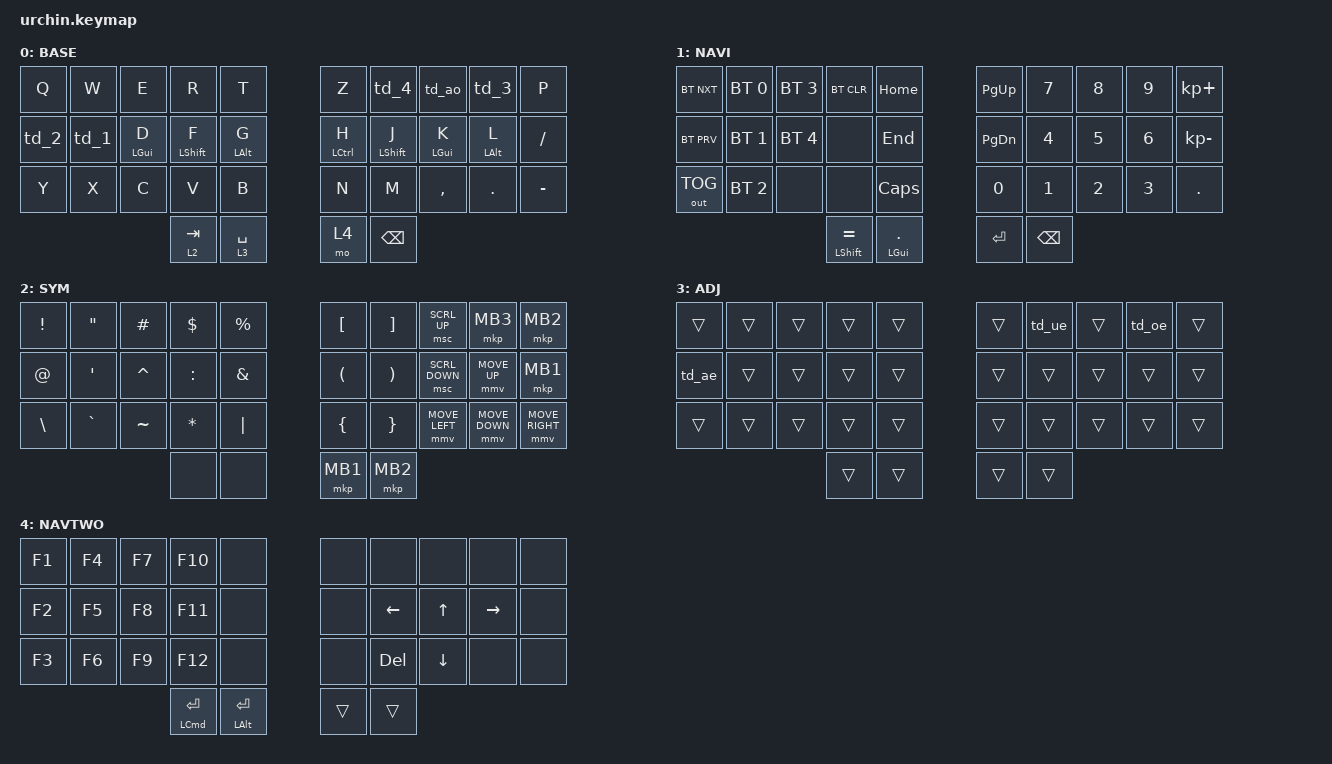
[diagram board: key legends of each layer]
/*
 * Copyright (c) 2020 duckyb
 *
 * SPDX-License-Identifier: MIT
 */

#include <behaviors.dtsi>
#include <dt-bindings/zmk/bt.h>
#include <dt-bindings/zmk/keys.h>
#include <dt-bindings/zmk/outputs.h>
#include <dt-bindings/zmk/pointing.h>

// Layer definitions

#define BASE 0
#define NAV  1
#define SYM  2
#define ADJ  3
#define NAVTWO 4

// -----------------

#define ZMK_POINTING_DEFAULT_MOVE_VAL 1800  // default: 600
#define ZMK_POINTING_DEFAULT_SCRL_VAL 30    // default: 10

&mt {
    quick-tap-ms = <100>;
    global-quick-tap;
    flavor = "tap-preferred";
    tapping-term-ms = <170>;
};

/ {
    behaviors {
        // --- Makros ---

        macro_0: macro0 {
            compatible = "zmk,behavior-macro";
            bindings = <&kp RA(Q)>;
            #binding-cells = <0>;
            label = "macro0";
        };

        macro_1: macro1 {
            compatible = "zmk,behavior-macro";
            bindings = <&kp RA(P)>;
            #binding-cells = <0>;
        };

        macro_2: macro2 {
            compatible = "zmk,behavior-macro";
            bindings = <&kp RA(Y)>;
            #binding-cells = <0>;
        };

        macro_3: macro3 {
            compatible = "zmk,behavior-macro";
            bindings = <&kp RA(S)>;
            #binding-cells = <0>;
        };

        viout: viout {
            compatible = "zmk,behavior-macro";
            #binding-cells = <0>;
            bindings = <&kp ESCAPE &kp COLON &kp W &kp Q &kp ENTER>;
            label = "VIOUT";
        };

        macae: macae {
            compatible = "zmk,behavior-macro";
            #binding-cells = <0>;
            bindings = <&kp LA(U) &kp A>;
            label = "MACAE";
        };

        macaeupper: macaeupper {
            compatible = "zmk,behavior-macro";
            #binding-cells = <0>;
            bindings = <&kp LA(U) &kp LS(A)>;
            label = "MACAEUPPER";
        };

        macue: macue {
            compatible = "zmk,behavior-macro";
            #binding-cells = <0>;
            bindings = <&kp LA(U) &kp U>;
            label = "MACUE";
        };

        macueupper: macueupper {
            compatible = "zmk,behavior-macro";
            #binding-cells = <0>;
            bindings = <&kp LA(U) &kp LS(U)>;
            label = "MACUEUPPER";
        };

        macoe: macoe {
            compatible = "zmk,behavior-macro";
            #binding-cells = <0>;
            bindings = <&kp LA(U) &kp O>;
            label = "MACOE";
        };

        macoeupper: macoeupper {
            compatible = "zmk,behavior-macro";
            #binding-cells = <0>;
            bindings = <&kp LA(U) &kp LS(O)>;
            label = "MACOEUPPER";
        };

        schwedischumlaut: schwedischumlaut {
            compatible = "zmk,behavior-macro";
            #binding-cells = <0>;
            bindings = <&kp RA(W)>;
            label = "SCHWEDISCHUMLAUT";
        };

        // --- Tap Dance ---

        td_0: behavior_tap_dance0 {
            compatible = "zmk,behavior-tap-dance";
            tapping-term-ms = <190>;
            #binding-cells = <0>;
            bindings = <&kp LEFT_SHIFT>, <&kp LEFT_GUI>, <&kp LEFT_ALT>;
        };

        td_1: behavior_tap_dance1 {
            compatible = "zmk,behavior-tap-dance";
            tapping-term-ms = <120>;
            #binding-cells = <0>;
            bindings = <&kp S>, <&macro_3>;
        };

        td_2: behavior_tap_dance2 {
            compatible = "zmk,behavior-tap-dance";
            tapping-term-ms = <170>;
            bindings = <&kp A>, <&macro_0>;

            #binding-cells = <0>;
        };

        td_3: behavior_tap_dance3 {
            compatible = "zmk,behavior-tap-dance";
            tapping-term-ms = <130>;
            bindings = <&kp O>, <&macro_1>;

            #binding-cells = <0>;
        };

        td_4: behavior_tap_dance4 {
            compatible = "zmk,behavior-tap-dance";
            tapping-term-ms = <140>;
            bindings = <&kp U>, <&macro_2>;

            #binding-cells = <0>;
        };

        td_5: td_5 {
            compatible = "zmk,behavior-tap-dance";
            label = "TD_5";
            #binding-cells = <0>;
            bindings = <&kp BACKSPACE>, <&mo 1>;

            tapping-term-ms = <130>;
        };

        td_ae: td_ae {
            compatible = "zmk,behavior-tap-dance";
            label = "TD_AE";
            #binding-cells = <0>;
            bindings = <&macae>, <&macaeupper>;
        };

        td_ue: td_ue {
            compatible = "zmk,behavior-tap-dance";
            label = "TD_UE";
            #binding-cells = <0>;
            bindings = <&macue>, <&macueupper>;
        };

        td_oe: td_oe {
            compatible = "zmk,behavior-tap-dance";
            label = "TD_OE";
            #binding-cells = <0>;
            bindings = <&macoe>, <&macoeupper>;
        };

        td_ao: td_ao {
            compatible = "zmk,behavior-tap-dance";
            label = "TD_AO";
            #binding-cells = <0>;
            bindings = <&kp I>, <&schwedischumlaut>;

            tapping-term-ms = <170>;
        };
    };

    macros {
        // sometimes my device thinks a modifier is being held down
        // pressing all modifiers fixes it.

        unstick: unstick {
            label = "ZM_unstick";
            compatible = "zmk,behavior-macro";
            #binding-cells = <0>;
            bindings = <&kp LSHIFT &kp RSHIFT &kp LCTRL &kp RCTRL &kp LALT &kp RALT &kp LGUI &kp RGUI>;
        };
    };

    combos {
        compatible = "zmk,combos";

        combo_esc {
            timeout-ms = <50>;
            key-positions = <0 1>;
            bindings = <&kp ESC>;
            layers = <0>;
        };

        enter {
            bindings = <&kp ENTER>;
            key-positions = <16 17 18>;
        };

        semi {
            bindings = <&kp SEMI>;
            key-positions = <28 27>;
        };

        navlayer {
            bindings = <&mo 1>;
            key-positions = <23 22>;
            layers = <0>;
            timeout-ms = <40>;
        };
    };

    keymap {
        compatible = "zmk,keymap";

        // ▄▄▄▄▄▄▄▄▄▄▄▄▄▄▄▄▄▄▄▄▄▄▄▄▄▄▄▄▄▄▄▄▄▄▄▄▄▄▄▄▄▄▄▄▄▄▄▄▄▄▄▄▄▄▄▄▄▄▄▄▄▄▄▄▄▄▄▄▄▄▄▄▄▄▄▄▄▄▄▄▄▄▄▄▄▄▄▄▄▄▄▄▄▄▄▄▄▄▄▄▄▄▄▄▄▄▄▄▄▄▄▄▄▄▄▄▄▄▄▄▄▄▄▄▄▄▄▄▄▄▄▄▄▄▄▄▄▄▄▄▄▄▄▄▄▄▄▄▄

        base_layer {
            // ┏━━━━━━━━━━━━━━━━━━━━━━━━━━━━━━━━━━━━━━━┓

            label = "BASE";

            // ┗━━━━━━━━━━━━━━━━━━━━━━━━━━━━━━━━━━━━━━━┛
            //             ┏━━━━━━━━━━━┳━━━━━━━━━━━┳━━━━━━━━━━━┳━━━━━━━━━━━┳━━━━━━━━━━━┓   ┏━━━━━━━━━━━┳━━━━━━━━━━━┳━━━━━━━━━━━┳━━━━━━━━━━━┳━━━━━━━━━━━┓
            //             ┃     Q     ┃     W     ┃     E     ┃     R     ┃     T     ┃   ┃     Z     ┃   &td_4   ┃     I     ┃   &td_3   ┃     P     ┃
            //             ┣━━━━━━━━━━━╋━━━━━━━━━━━╋━━━━━━━━━━━╋━━━━━━━━━━━╋━━━━━━━━━━━┫   ┣━━━━━━━━━━━╋━━━━━━━━━━━╋━━━━━━━━━━━╋━━━━━━━━━━━╋━━━━━━━━━━━┫
            //             ┃   &td_2   ┃   &td_1   ┃     D     ┃ (F, LSFT) ┃ (G, LALT) ┃   ┃ (H, LALT) ┃ (J, LSFT) ┃     K     ┃     L     ┃   SEMI    ┃
            // ┏━━━━━━━━━━━╋━━━━━━━━━━━╋━━━━━━━━━━━╋━━━━━━━━━━━╋━━━━━━━━━━━╋━━━━━━━━━━━┫   ┣━━━━━━━━━━━╋━━━━━━━━━━━╋━━━━━━━━━━━╋━━━━━━━━━━━╋━━━━━━━━━━━╋━━━━━━━━━━━┓
            // ┃   &td_0   ┃     Y     ┃     X     ┃     C     ┃     V     ┃     B     ┃   ┃     N     ┃     M     ┃   COMMA   ┃    DOT    ┃   MINUS   ┃   SLASH   ┃
            // ┗━━━━━━━━━━━┻━━━━━━━━━━━┻━━━━━━━━━━━╋━━━━━━━━━━━╋━━━━━━━━━━━╋━━━━━━━━━━━┫   ┣━━━━━━━━━━━╋━━━━━━━━━━━╋━━━━━━━━━━━╋━━━━━━━━━━━┻━━━━━━━━━━━┻━━━━━━━━━━━┛
            //                                     ┃ L_CONTROL ┃ (2, TAB)  ┃ (3,SPACE) ┃   ┃   MO(4)   ┃   &td_5   ┃   MO(1)   ┃
            //                                     ┗━━━━━━━━━━━┻━━━━━━━━━━━┻━━━━━━━━━━━┛   ┗━━━━━━━━━━━┻━━━━━━━━━━━┻━━━━━━━━━━━┛

            bindings = <
&kp Q  &kp W  &kp E       &kp R        &kp T           &kp Z               &td_4          &td_ao      &td_3           &kp P
&td_2  &td_1  &mt LGUI D  &mt LSHFT F  &mt LEFT_ALT G  &mt LEFT_CONTROL H  &mt LSHIFT J   &mt LGUI K  &mt LEFT_ALT L  &kp SLASH
&kp Y  &kp X  &kp C       &kp V        &kp B           &kp N               &kp M          &kp COMMA   &kp DOT         &kp MINUS
                          &lt 2 TAB    &lt 3 SPACE     &mo 4               &kp BACKSPACE
            >;
        };

        // ▄▄▄▄▄▄▄▄▄▄▄▄▄▄▄▄▄▄▄▄▄▄▄▄▄▄▄▄▄▄▄▄▄▄▄▄▄▄▄▄▄▄▄▄▄▄▄▄▄▄▄▄▄▄▄▄▄▄▄▄▄▄▄▄▄▄▄▄▄▄▄▄▄▄▄▄▄▄▄▄▄▄▄▄▄▄▄▄▄▄▄▄▄▄▄▄▄▄▄▄▄▄▄▄▄▄▄▄▄▄▄▄▄▄▄▄▄▄▄▄▄▄▄▄▄▄▄▄▄▄▄▄▄▄▄▄▄▄▄▄▄▄▄▄▄▄▄▄▄

        nav_layer {
            // ┏━━━━━━━━━━━━━━━━━━━━━━━━━━━━━━━━━━━━━━━┓

            label = "NAVI";

            // ┗━━━━━━━━━━━━━━━━━━━━━━━━━━━━━━━━━━━━━━━┛
            //             ┏━━━━━━━━━━━┳━━━━━━━━━━━┳━━━━━━━━━━━┳━━━━━━━━━━━┳━━━━━━━━━━━┓   ┏━━━━━━━━━━━┳━━━━━━━━━━━┳━━━━━━━━━━━┳━━━━━━━━━━━┳━━━━━━━━━━━┓
            //             ┃ BT_NXT    ┃ BT_SEL 0  ┃ BT_SEL 3  ┃  NONE     ┃ HOME      ┃   ┃  PG_UP    ┃ N7        ┃ N8        ┃ N9        ┃   PLUS    ┃
            //             ┣━━━━━━━━━━━╋━━━━━━━━━━━╋━━━━━━━━━━━╋━━━━━━━━━━━╋━━━━━━━━━━━┫   ┣━━━━━━━━━━━╋━━━━━━━━━━━╋━━━━━━━━━━━╋━━━━━━━━━━━╋━━━━━━━━━━━┫
            //             ┃ BT_PRV    ┃ BT_SEL 1  ┃ BT_SEL 4  ┃  NONE     ┃ END       ┃   ┃  PG_DN    ┃ N4        ┃ N5        ┃ N6        ┃   MINUS   ┃
            // ┏━━━━━━━━━━━╋━━━━━━━━━━━╋━━━━━━━━━━━╋━━━━━━━━━━━╋━━━━━━━━━━━╋━━━━━━━━━━━┫   ┣━━━━━━━━━━━╋━━━━━━━━━━━╋━━━━━━━━━━━╋━━━━━━━━━━━╋━━━━━━━━━━━╋━━━━━━━━━━━┓
            // ┃ BT_CLR    ┃ NONE      ┃ BT_SEL 2  ┃ NONE      ┃ NONE      ┃ CAPS      ┃   ┃    N0     ┃ N1        ┃ N2        ┃ N3        ┃   PERIOD  ┃   EQUAL   ┃
            // ┗━━━━━━━━━━━┻━━━━━━━━━━━┻━━━━━━━━━━━╋━━━━━━━━━━━╋━━━━━━━━━━━╋━━━━━━━━━━━┫   ┣━━━━━━━━━━━╋━━━━━━━━━━━╋━━━━━━━━━━━╋━━━━━━━━━━━┻━━━━━━━━━━━┻━━━━━━━━━━━┛
            //                                     ┃ LSHFT     ┃ LEFT_GUI  ┃ LA(ENTER) ┃   ┃   ENTER   ┃ BACKSPACE ┃ NONE      ┃
            //                                     ┗━━━━━━━━━━━┻━━━━━━━━━━━┻━━━━━━━━━━━┛   ┗━━━━━━━━━━━┻━━━━━━━━━━━┻━━━━━━━━━━━┛

            bindings = <
&bt BT_NXT    &bt BT_SEL 0  &bt BT_SEL 3  &bt BT_CLR       &kp HOME          &kp PG_UP  &kp N7         &kp N8        &kp N9        &kp KP_PLUS
&bt BT_PRV    &bt BT_SEL 1  &bt BT_SEL 4  &none            &kp END           &kp PG_DN  &kp NUMBER_4   &kp N5        &kp NUMBER_6  &kp KP_MINUS
&out OUT_TOG  &bt BT_SEL 2  &none         &none            &kp CAPS          &kp N0     &kp N1         &kp NUMBER_2  &kp NUMBER_3  &kp PERIOD
                                          &mt LSHFT EQUAL  &mt LEFT_GUI DOT  &kp ENTER  &kp BACKSPACE
            >;
        };

        // ▄▄▄▄▄▄▄▄▄▄▄▄▄▄▄▄▄▄▄▄▄▄▄▄▄▄▄▄▄▄▄▄▄▄▄▄▄▄▄▄▄▄▄▄▄▄▄▄▄▄▄▄▄▄▄▄▄▄▄▄▄▄▄▄▄▄▄▄▄▄▄▄▄▄▄▄▄▄▄▄▄▄▄▄▄▄▄▄▄▄▄▄▄▄▄▄▄▄▄▄▄▄▄▄▄▄▄▄▄▄▄▄▄▄▄▄▄▄▄▄▄▄▄▄▄▄▄▄▄▄▄▄▄▄▄▄▄▄▄▄▄▄▄▄▄▄▄▄▄

        sim_layer {
            // ┏━━━━━━━━━━━━━━━━━━━━━━━━━━━━━━━━━━━━━━━┓

            label = "SYM";

            // ┗━━━━━━━━━━━━━━━━━━━━━━━━━━━━━━━━━━━━━━━┛
            //             ┏━━━━━━━━━━━┳━━━━━━━━━━━┳━━━━━━━━━━━┳━━━━━━━━━━━┳━━━━━━━━━━━┓   ┏━━━━━━━━━━━┳━━━━━━━━━━━┳━━━━━━━━━━━┳━━━━━━━━━━━┳━━━━━━━━━━━┓
            //             ┃   EXCL    ┃     "     ┃   HASH    ┃   DLLR    ┃   PRCNT   ┃   ┃   LBKT    ┃   RBKT    ┃  SCRL_UP  ┃   MB3     ┃   MB2     ┃
            //             ┣━━━━━━━━━━━╋━━━━━━━━━━━╋━━━━━━━━━━━╋━━━━━━━━━━━╋━━━━━━━━━━━┫   ┣━━━━━━━━━━━╋━━━━━━━━━━━╋━━━━━━━━━━━╋━━━━━━━━━━━╋━━━━━━━━━━━┫
            //             ┃    AT     ┃     '     ┃  CARET    ┃  COLON    ┃   AMPS    ┃   ┃   LPAR    ┃   RPAR    ┃  SCRL_DN  ┃   MOVE_UP ┃    MB1    ┃
            // ┏━━━━━━━━━━━╋━━━━━━━━━━━╋━━━━━━━━━━━╋━━━━━━━━━━━╋━━━━━━━━━━━╋━━━━━━━━━━━┫   ┣━━━━━━━━━━━╋━━━━━━━━━━━╋━━━━━━━━━━━╋━━━━━━━━━━━╋━━━━━━━━━━━╋
            // ┃   NONE    ┃  BSLASH   ┃  GRAVE    ┃  TILDE    ┃   STAR    ┃   PIPE    ┃   ┃  LBRACE   ┃  RBRACE   ┃ MOVE_LEFT ┃ MOVE_DOWN ┃ MOVE_RIGHT┃
            // ┗━━━━━━━━━━━┻━━━━━━━━━━━┻━━━━━━━━━━━╋━━━━━━━━━━━╋━━━━━━━━━━━╋━━━━━━━━━━━┫   ┣━━━━━━━━━━━╋━━━━━━━━━━━╋━━━━━━━━━━━╋━━━━━━━━━━━┻━━━━━━━━━━━┻
            //                                     ┃   NONE    ┃  NONE     ┃   TO(3)   ┃   ┃   NONE    ┃   NONE    ┃   TO(3)   ┃
            //                                     ┗━━━━━━━━━━━┻━━━━━━━━━━━┻━━━━━━━━━━━┛   ┗━━━━━━━━━━━┻━━━━━━━━━━━┻━━━━━━━━━━━┛

            bindings = <
&kp EXCL       &kp DOUBLE_QUOTES  &kp HASH   &kp DLLR   &kp PRCNT  &kp LBKT        &kp RBKT         &msc SCRL_UP    &mkp MB3        &mkp MB2
&kp AT         &kp SINGLE_QUOTE   &kp CARET  &kp COLON  &kp AMPS   &kp LPAR        &kp RPAR         &msc SCRL_DOWN  &mmv MOVE_UP    &mkp MB1
&kp BACKSLASH  &kp GRAVE          &kp TILDE  &kp STAR   &kp PIPE   &kp LEFT_BRACE  &kp RIGHT_BRACE  &mmv MOVE_LEFT  &mmv MOVE_DOWN  &mmv MOVE_RIGHT
                                             &none      &none      &mkp MB1        &mkp MB2
            >;
        };

        // ▄▄▄▄▄▄▄▄▄▄▄▄▄▄▄▄▄▄▄▄▄▄▄▄▄▄▄▄▄▄▄▄▄▄▄▄▄▄▄▄▄▄▄▄▄▄▄▄▄▄▄▄▄▄▄▄▄▄▄▄▄▄▄▄▄▄▄▄▄▄▄▄▄▄▄▄▄▄▄▄▄▄▄▄▄▄▄▄▄▄▄▄▄▄▄▄▄▄▄▄▄▄▄▄▄▄▄▄▄▄▄▄▄▄▄▄▄▄▄▄▄▄▄▄▄▄▄▄▄▄▄▄▄▄▄▄▄▄▄▄▄▄▄▄▄▄▄▄▄

        adjust_layer {
            // ┏━━━━━━━━━━━━━━━━━━━━━━━━━━━━━━━━━━━━━━━┓

            label = "ADJ";

            // ┗━━━━━━━━━━━━━━━━━━━━━━━━━━━━━━━━━━━━━━━┛
            //             ┏━━━━━━━━━━━┳━━━━━━━━━━━┳━━━━━━━━━━━┳━━━━━━━━━━━┳━━━━━━━━━━━┓   ┏━━━━━━━━━━━┳━━━━━━━━━━━┳━━━━━━━━━━━┳━━━━━━━━━━━┳━━━━━━━━━━━┓
            //             ┃           ┃           ┃           ┃           ┃           ┃   ┃           ┃   TD_UE   ┃           ┃   TD_OE   ┃           ┃
            //             ┣━━━━━━━━━━━╋━━━━━━━━━━━╋━━━━━━━━━━━╋━━━━━━━━━━━╋━━━━━━━━━━━┫   ┣━━━━━━━━━━━╋━━━━━━━━━━━╋━━━━━━━━━━━╋━━━━━━━━━━━╋━━━━━━━━━━━┫
            //             ┃   TD_AE   ┃           ┃           ┃           ┃           ┃   ┃           ┃           ┃           ┃           ┃           ┃
            // ┏━━━━━━━━━━━╋━━━━━━━━━━━╋━━━━━━━━━━━╋━━━━━━━━━━━╋━━━━━━━━━━━╋━━━━━━━━━━━┫   ┣━━━━━━━━━━━╋━━━━━━━━━━━╋━━━━━━━━━━━╋━━━━━━━━━━━╋━━━━━━━━━━━╋━━━━━━━━━━━┓
            // ┃           ┃           ┃           ┃           ┃           ┃           ┃   ┃           ┃           ┃           ┃           ┃           ┃           ┃
            // ┗━━━━━━━━━━━┻━━━━━━━━━━━┻━━━━━━━━━━━╋━━━━━━━━━━━╋━━━━━━━━━━━╋━━━━━━━━━━━┫   ┣━━━━━━━━━━━╋━━━━━━━━━━━╋━━━━━━━━━━━╋━━━━━━━━━━━┻━━━━━━━━━━━┻━━━━━━━━━━━┛
            //                                     ┃           ┃           ┃           ┃   ┃           ┃           ┃           ┃
            //                                     ┗━━━━━━━━━━━┻━━━━━━━━━━━┻━━━━━━━━━━━┛   ┗━━━━━━━━━━━┻━━━━━━━━━━━┻━━━━━━━━━━━┛

            bindings = <
&trans  &trans  &trans  &trans  &trans  &trans  &td_ue  &trans  &td_oe  &trans
&td_ae  &trans  &trans  &trans  &trans  &trans  &trans  &trans  &trans  &trans
&trans  &trans  &trans  &trans  &trans  &trans  &trans  &trans  &trans  &trans
                        &trans  &trans  &trans  &trans
            >;
        };

        navtwo {
            // ┏━━━━━━━━━━━━━━━━━━━━━━━━━━━━━━━━━━━━━━━┓

            label = "NAVTWO";

            // ┗━━━━━━━━━━━━━━━━━━━━━━━━━━━━━━━━━━━━━━━┛
            //             ┏━━━━━━━━━━━┳━━━━━━━━━━━┳━━━━━━━━━━━┳━━━━━━━━━━━┳━━━━━━━━━━━┓   ┏━━━━━━━━━━━┳━━━━━━━━━━━┳━━━━━━━━━━━┳━━━━━━━━━━━┳━━━━━━━━━━━┓
            //             ┃    F1     ┃    F4     ┃    F7     ┃   F10     ┃   NONE    ┃   ┃   NONE    ┃   NONE    ┃   NONE    ┃   NONE    ┃   NONE    ┃
            //             ┣━━━━━━━━━━━╋━━━━━━━━━━━╋━━━━━━━━━━━╋━━━━━━━━━━━╋━━━━━━━━━━━┫   ┣━━━━━━━━━━━╋━━━━━━━━━━━╋━━━━━━━━━━━╋━━━━━━━━━━━╋━━━━━━━━━━━┫
            //             ┃    F2     ┃    F5     ┃    F8     ┃   F11     ┃   NONE    ┃   ┃   NONE    ┃   LEFT    ┃   UP      ┃  RIGHT    ┃   NONE    ┃
            // ┏━━━━━━━━━━━╋━━━━━━━━━━━╋━━━━━━━━━━━╋━━━━━━━━━━━╋━━━━━━━━━━━╋━━━━━━━━━━━┫   ┣━━━━━━━━━━━╋━━━━━━━━━━━╋━━━━━━━━━━━╋━━━━━━━━━━━╋━━━━━━━━━━━╋━━━━━━━━━━━┓
            // ┃  LEFT_ALT ┃    F3     ┃    F6     ┃    F9     ┃   F12     ┃   NONE    ┃   ┃   NONE    ┃   DEL     ┃  DOWN     ┃   NONE    ┃   NONE    ┃   LSHFT   ┃
            // ┗━━━━━━━━━━━┻━━━━━━━━━━━┻━━━━━━━━━━━╋━━━━━━━━━━━╋━━━━━━━━━━━╋━━━━━━━━━━━┫   ┣━━━━━━━━━━━╋━━━━━━━━━━━╋━━━━━━━━━━━╋━━━━━━━━━━━┻━━━━━━━━━━━┻━━━━━━━━━━━┛
            //                                     ┃   NONE    ┃   LCMD    ┃ LG(ENTER) ┃   ┃   TRANS   ┃   TRANS   ┃  TRANS    ┃
            //                                     ┗━━━━━━━━━━━┻━━━━━━━━━━━┻━━━━━━━━━━━┛   ┗━━━━━━━━━━━┻━━━━━━━━━━━┻━━━━━━━━━━━┛

            bindings = <
&kp F1  &kp F4  &kp F7  &kp F10         &none               &none   &none     &none           &none      &none
&kp F2  &kp F5  &kp F8  &kp F11         &none               &none   &kp LEFT  &kp UP_ARROW    &kp RIGHT  &none
&kp F3  &kp F6  &kp F9  &kp F12         &none               &none   &kp DEL   &kp DOWN_ARROW  &none      &none
                        &mt LCMD ENTER  &mt LEFT_ALT ENTER  &trans  &trans
            >;
        };
    };

    conditional_layers { compatible = "zmk,conditional-layers"; };
};
